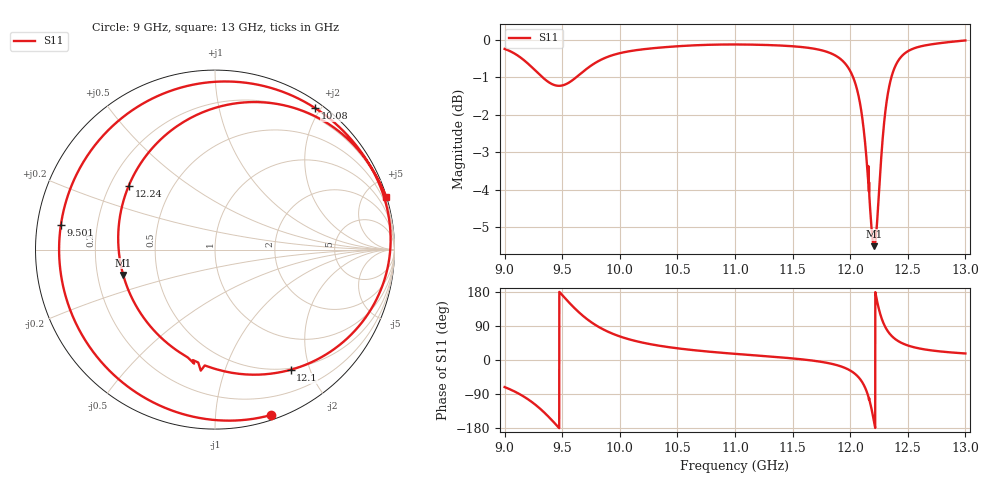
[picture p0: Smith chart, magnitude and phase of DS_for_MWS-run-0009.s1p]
! TOUCHSTONE file generated by CST DESIGN STUDIO
! Date and time: Wed Feb  5 13:19:42 2025
! Project name: C:\Work\MatlabApps\UnitCellOptimizationMatlab\CST\unitcell.cst
! Tree item: Tasks\Sweep1\SPara1\S-Parameters
! Header version: 2024
! Port assignment regex: !\s*Touchstone port\s*([0-9]+)\s*=\s*(CST MWS port|CST DES external port|CST DES block port)\s*(.+)\s* \(\"(.*)\"\)(\s*mode\s*([0-9]+))?.*
! Touchstone port assignment:
! Touchstone port 1 = CST DES external port 1 ("")
# GHz S MA R 50
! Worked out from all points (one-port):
!   4001 points, 9 GHz to 13 GHz, reference 50 ohm
!   lowest |S11| = -5.5 dB at 12.21 GHz (marker M1), VSWR 3.26, Z = 15.6 - j6.12 ohm
!   |S11| at or under -10 dB: nowhere
!   S11 on the Smith chart (normalised r, x): 9 GHz: 0.04, -1.39; 9.501 GHz: 0.07, +0.08; 10.08 GHz: 0.08, +1.93; 12.1 GHz: 0.48, -1.71; 12.24 GHz: 0.28, +0.31; 13 GHz: 0.03, +6.61
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9  0.9729 -71.4
9.152  0.9441 -93.8
9.268  0.9101 -118.2
9.4  0.8751 -155.5
9.5  0.8696 171.3
9.501  0.8697 171.0
9.612  0.8893 135.4
9.713  0.9154 108.5
9.829  0.9398 85.2
10  0.9604 62.2
10.08  0.9659 54.6
10.5  0.9809 30.9
11  0.9864 16.2
11.5  0.981 4.2
11.807  0.9632 -8.0
12  0.9092 -27.7
12.057  0.8618 -40.6
12.103  0.791 -57.9
12.16  0.6362 -98.4
12.184  0.5638 -127.3
12.208  0.5306 -164.6
12.242  0.5982 143.4
12.277  0.7226 106.3
12.317  0.8292 80.4
12.393  0.9239 54.7
12.5  0.966 38.4
12.677  0.9852 26.5
13  0.9986 17.2
